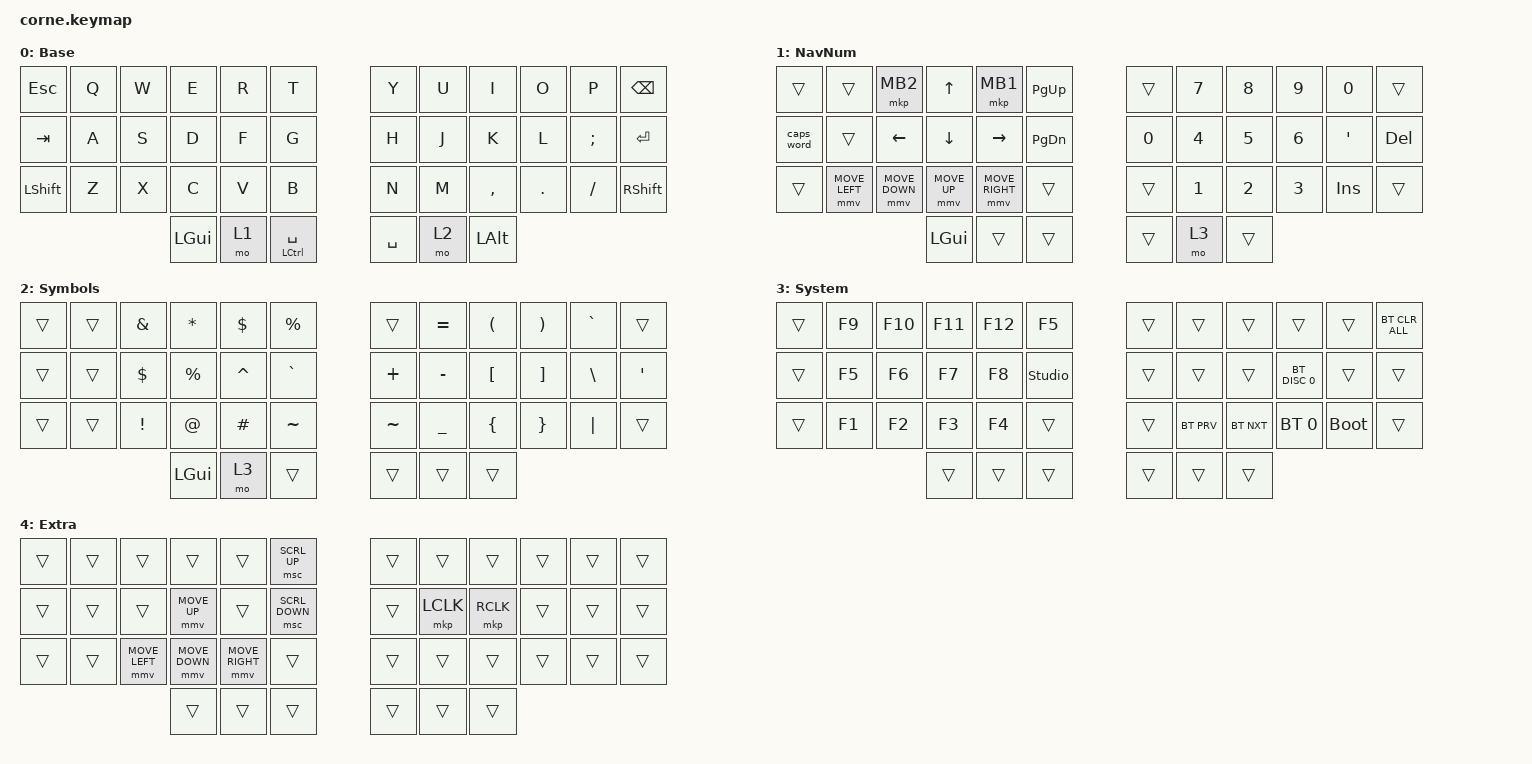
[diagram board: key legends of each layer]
#include <behaviors.dtsi>
#include <dt-bindings/zmk/bt.h>
#include <dt-bindings/zmk/keys.h>
#include <dt-bindings/zmk/pointing.h>

#define DEF 0
#define NAV 1
#define SYM 2
#define ADJ 3
#define EXTRA 4

/ {
    behaviors {
        hm: homerow_mods {
            compatible = "zmk,behavior-hold-tap";
            #binding-cells = <2>;
            tapping-term-ms = <200>;
            flavor = "tap-preferred";
            bindings = <&kp>, <&kp>;

            quick-tap-ms = <180>;
            require-prior-idle-ms = <120>; /* tune to taste */
        };

        para: para {
            compatible = "zmk,behavior-tap-dance";
            #binding-cells = <0>;
            bindings = <&kp LEFT_PARENTHESIS>, <&kp RIGHT_PARENTHESIS>;
        };

        caps: caps {
            compatible = "zmk,behavior-caps-word";
            #binding-cells = <0>;
            continue-list = <MINUS BACKSPACE>;
        };

        paraless: paraless {
            compatible = "zmk,behavior-mod-morph";
            bindings = <&kp LEFT_PARENTHESIS>, <&kp LESS_THAN>;

            #binding-cells = <0>;
            mods = <(MOD_LSFT)>;
        };

        paragreat: paragreat {
            compatible = "zmk,behavior-mod-morph";
            bindings = <&kp RIGHT_PARENTHESIS>, <&kp GREATER_THAN>;

            #binding-cells = <0>;
            mods = <(MOD_LSFT)>;
        };
    };

    macros {
        browsertab: browsertab {
            compatible = "zmk,behavior-macro";
            #binding-cells = <0>;
            bindings =
                <&macro_press>,
                <&kp LCTRL>,
                <&macro_tap>,
                <&kp TAB>,
                <&macro_release>,
                <&kp LCTRL>;
        };
    };

    combos {
        compatible = "zmk,combos";

        escape {
            bindings = <&kp ESCAPE>;
            key-positions = <13 29>;
        };

        delete {
            bindings = <&kp DELETE>;
            key-positions = <15 21>;
        };

        perc {
            bindings = <&kp PERCENT>;
            key-positions = <5 17>;
            layers = <0>;
        };

        equal {
            bindings = <&kp EQUAL>;
            key-positions = <28 16>;
            layers = <0>;
        };

        dollar {
            bindings = <&kp DOLLAR>;
            key-positions = <4 16>;
            layers = <0>;
        };

        pound {
            bindings = <&kp POUND>;
            key-positions = <3 15>;
            layers = <0>;
        };

        at {
            bindings = <&kp AT>;
            key-positions = <2 14>;
            layers = <0>;
        };

        backslash {
            bindings = <&kp BACKSLASH>;
            key-positions = <26 14>;
            layers = <0>;
        };

        star {
            bindings = <&kp STAR>;
            key-positions = <8 20>;
            layers = <0>;
        };

        slash {
            bindings = <&kp SLASH>;
            key-positions = <32 20>;
            layers = <0>;
        };

        plus {
            bindings = <&kp PLUS>;
            key-positions = <7 19>;
            layers = <0>;
        };

        minus {
            bindings = <&kp KP_MINUS>;
            key-positions = <31 19>;
            layers = <0>;
        };

        underscore {
            bindings = <&kp UNDER>;
            key-positions = <30 18>;
            layers = <0>;
        };

        leftbrack {
            bindings = <&kp LEFT_BRACKET>;
            key-positions = <31 32>;
            layers = <0>;
        };

        rightbrack {
            bindings = <&kp RIGHT_BRACKET>;
            key-positions = <33 32>;
            layers = <0>;
        };

        para-less {
            bindings = <&paraless>;
            key-positions = <20 19>;
            layers = <0>;
        };

        para-great {
            bindings = <&paragreat>;
            key-positions = <20 21>;
            layers = <0>;
        };
    };

    //

    keymap {
        compatible = "zmk,keymap";

        DEF {
            display-name = "Base";

            // -----------------------------------------------------------------------------------------
            // |  Q  |  W  |  E  |  R  |  T  |   |  Y  |  U   |  I  |  O  |  P  |
            // |  A  |  S  |  D  |  F  |  G  |   |  H  |  J   |  K  |  L  |  ;  |
            // |  Z  |  X  |  C  |  V  |  B  |   |  N  |  M   |  ,  |  .  |  /  |
            // | GUI | CTRL | SHFT | LWR | SPC |   | ENT | RSE  | BKSP | ALT | ESC |

            bindings = <
&kp ESC     &kp Q  &kp W  &kp E     &kp R  &kp T                     &kp Y      &kp U  &kp I         &kp O    &kp P     &kp BACKSPACE
&kp TAB     &kp A  &kp S  &kp D     &kp F  &kp G                     &kp H      &kp J  &kp K         &kp L    &kp SEMI  &kp RET
&kp LSHIFT  &kp Z  &kp X  &kp C     &kp V  &kp B                     &kp N      &kp M  &kp COMMA     &kp DOT  &kp FSLH  &kp RSHIFT
                          &kp LGUI  &mo 1  &mt LEFT_CONTROL SPACE    &kp SPACE  &mo 2  &kp LEFT_ALT
            >;
        };

        NAV {
            display-name = "NavNum";

            // -----------------------------------------------------------------------------------------
            // |  TAB |  1  |  2  |  3  |  4  |  5  |   |  6  |  7  |  8  |  9  |  0  | BKSP |
            // | BTCLR| BT1 | BT2 | BT3 | BT4 | BT5 |   | LFT | DWN |  UP | RGT |     |      |
            // | SHFT |     |     |     |     |     |   |     |     |     |     |     |      |
            // | GUI | CTRL | SHFT | LWR | SPC |   | ENT | RSE  | BKSP | ALT | ESC |

            bindings = <
&trans      &trans          &mkp MB2        &kp UP_ARROW  &mkp MB1         &kp PG_UP    &trans  &kp N7  &kp N8  &kp N9  &kp N0    &trans
&caps_word  &trans          &kp LEFT_ARROW  &kp DOWN      &kp RIGHT_ARROW  &kp PG_DN    &kp N0  &kp N4  &kp N5  &kp N6  &kp APOS  &kp DEL
&trans      &mmv MOVE_LEFT  &mmv MOVE_DOWN  &mmv MOVE_UP  &mmv MOVE_RIGHT  &trans       &trans  &kp N1  &kp N2  &kp N3  &kp INS   &trans
                                            &kp LGUI      &trans           &trans       &trans  &mo 3   &trans
            >;
        };

        SYM {
            display-name = "Symbols";

            // -----------------------------------------------------------------------------------------
            // |  TAB |  !  |  @  |  #  |  $  |  %  |   |  ^  |  &  |  *  |  (  |  )  | BKSP |
            // | CTRL |     |     |     |     |     |   |  -  |  =  |  [  |  ]  |  \  |  `   |
            // | SHFT |     |     |     |     |     |   |  _  |  +  |  {  |  }  | "|" |  ~   |
            //                    | GUI |     | SPC |   | ENT |     | ALT |

            bindings = <
&trans  &trans  &kp AMPS    &kp ASTRK    &kp DLLR   &kp PRCNT    &trans     &kp EQUAL  &kp LEFT_PARENTHESIS  &kp RIGHT_PARENTHESIS  &kp GRAVE  &trans
&trans  &trans  &kp DOLLAR  &kp PERCENT  &kp CARET  &kp GRAVE    &kp PLUS   &kp MINUS  &kp LBKT              &kp RBKT               &kp BSLH   &kp APOS
&trans  &trans  &kp EXCL    &kp AT       &kp POUND  &kp TILDE    &kp TILDE  &kp UNDER  &kp LBRC              &kp RBRC               &kp PIPE   &trans
                            &kp LGUI     &mo 3      &trans       &trans     &trans     &trans
            >;
        };

        ADJ {
            display-name = "System";
            bindings = <
&trans  &kp F9  &kp F10  &kp F11  &kp F12  &kp F5            &trans  &trans      &trans      &trans         &trans       &bt BT_CLR_ALL
&trans  &kp F5  &kp F6   &kp F7   &kp F8   &studio_unlock    &trans  &trans      &trans      &bt BT_DISC 0  &trans       &trans
&trans  &kp F1  &kp F2   &kp F3   &kp F4   &trans            &trans  &bt BT_PRV  &bt BT_NXT  &bt BT_SEL 0   &bootloader  &trans
                         &trans   &trans   &trans            &trans  &trans      &trans
            >;
        };

        EXTRA {
            display-name = "Extra";
            bindings = <
&trans  &trans  &trans          &trans          &trans           &msc SCRL_UP      &trans  &trans     &trans     &trans  &trans  &trans
&trans  &trans  &trans          &mmv MOVE_UP    &trans           &msc SCRL_DOWN    &trans  &mkp LCLK  &mkp RCLK  &trans  &trans  &trans
&trans  &trans  &mmv MOVE_LEFT  &mmv MOVE_DOWN  &mmv MOVE_RIGHT  &trans            &trans  &trans     &trans     &trans  &trans  &trans
                                &trans          &trans           &trans            &trans  &trans     &trans
            >;
        };
    };
};
